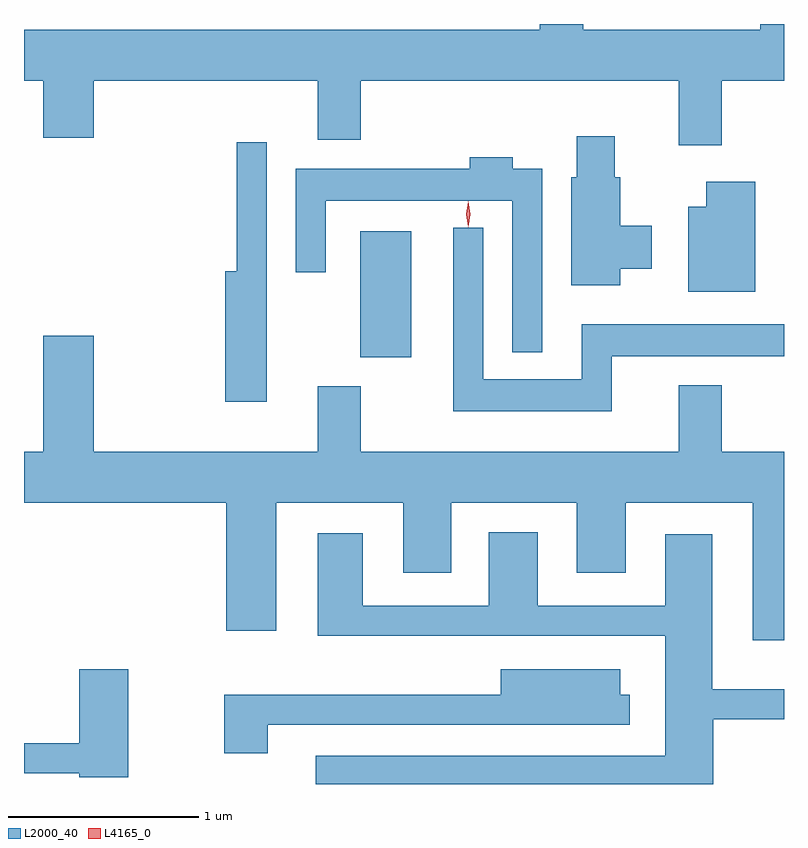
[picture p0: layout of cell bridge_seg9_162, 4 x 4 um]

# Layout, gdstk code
import gdstk
lib = gdstk.Library(unit=1e-6, precision=1e-09)
def R(c, l, rs):  # rectangles x0, y0, x1, y1
    for r in rs: c.add(gdstk.rectangle(r[:2], r[2:], *l))
def P(c, l, *ps):  # polygons
    for p in ps: c.add(gdstk.Polygon(p, *l))
L2000_40 = (2000, 40)
L4165_0 = (4165, 0)

bridge_seg9_162 = lib.new_cell('bridge_seg9_162')
R(bridge_seg9_162, L2000_40, [(1435.526,2065.841,1435.794,2066.504)])
P(bridge_seg9_162, L2000_40, [(1437.429,2067.296),(1437.756,2067.296),(1437.756,2067.595),(1437.631,2067.595),(1437.631,2067.564),(1436.699,2067.564),(1436.699,2067.595),(1436.471,2067.595),(1436.471,2067.564),(1433.756,2067.564),(1433.756,2067.296),(1433.856,2067.296),(1433.856,2066.996),(1434.124,2066.996),(1434.124,2067.296),(1435.301,2067.296),(1435.301,2066.986),(1435.529,2066.986),(1435.529,2067.296),(1437.201,2067.296),(1437.201,2066.956),(1437.429,2066.956)],
  [(1436.894,2066.306),(1437.059,2066.306),(1437.059,2066.534),(1436.894,2066.534),(1436.894,2066.789),(1436.864,2066.789),(1436.864,2067.004),(1436.666,2067.004),(1436.666,2066.789),(1436.636,2066.789),(1436.636,2066.221),(1436.894,2066.221)],
  [(1435.034,2066.972),(1434.876,2066.972),(1434.876,2066.294),(1434.816,2066.294),(1434.816,2065.606),(1435.034,2065.606)],
  [(1436.484,2066.834),(1436.329,2066.834),(1436.329,2066.894),(1436.101,2066.894),(1436.101,2066.834),(1435.186,2066.834),(1435.186,2066.288),(1435.344,2066.288),(1435.344,2066.666),(1436.326,2066.666),(1436.326,2065.867),(1436.484,2065.867)],
  [(1437.604,2066.764),(1437.346,2066.764),(1437.346,2066.634),(1437.251,2066.634),(1437.251,2066.186),(1437.604,2066.186)],
  [(1436.849,2065.846),(1437.756,2065.846),(1437.756,2066.014),(1436.691,2066.014),(1436.691,2065.724),(1436.174,2065.724),(1436.174,2066.523),(1436.016,2066.523),(1436.016,2065.556),(1436.849,2065.556)],
  [(1437.756,2065.344),(1437.429,2065.344),(1437.429,2065.694),(1437.201,2065.694),(1437.201,2065.344),(1435.529,2065.344),(1435.529,2065.689),(1435.301,2065.689),(1435.301,2065.344),(1434.124,2065.344),(1434.124,2065.954),(1433.856,2065.954),(1433.856,2065.344),(1433.756,2065.344),(1433.756,2065.076),(1434.821,2065.076),(1434.821,2064.401),(1435.084,2064.401),(1435.084,2065.076),(1435.751,2065.076),(1435.751,2064.706),(1436.004,2064.706),(1436.004,2065.076),(1436.666,2065.076),(1436.666,2064.706),(1436.924,2064.706),(1436.924,2065.076),(1437.591,2065.076),(1437.591,2064.351),(1437.756,2064.351)],
  [(1437.384,2063.936),(1437.756,2063.936),(1437.756,2064.094),(1437.379,2064.094),(1437.379,2064.909),(1437.131,2064.909),(1437.131,2064.534),(1436.459,2064.534),(1436.459,2064.919),(1436.201,2064.919),(1436.201,2064.534),(1435.539,2064.534),(1435.539,2064.914),(1435.301,2064.914),(1435.301,2064.376),(1437.131,2064.376),(1437.131,2063.744),(1435.291,2063.744),(1435.291,2063.595),(1437.384,2063.595)],
  [(1434.304,2064.199),(1434.046,2064.199),(1434.046,2063.809),(1433.756,2063.809),(1433.756,2063.651),(1434.046,2063.651),(1434.046,2063.631),(1434.304,2063.631)],
  [(1435.039,2063.906),(1436.943,2063.906),(1436.943,2064.064),(1436.894,2064.064),(1436.894,2064.199),(1436.266,2064.199),(1436.266,2064.064),(1434.811,2064.064),(1434.811,2063.756),(1435.039,2063.756)])
P(bridge_seg9_162, L4165_0, [(1436.094,2066.524),(1436.085,2066.593),(1436.094,2066.662),(1436.095,2066.663),(1436.095,2066.662),(1436.105,2066.593),(1436.095,2066.524),(1436.095,2066.524)],
  [(1436.094,2066.527),(1436.094,2066.528),(1436.084,2066.594),(1436.094,2066.66),(1436.094,2066.66),(1436.095,2066.66),(1436.104,2066.594),(1436.095,2066.528)])

lib.write_gds('bridge_seg9_162.gds')
